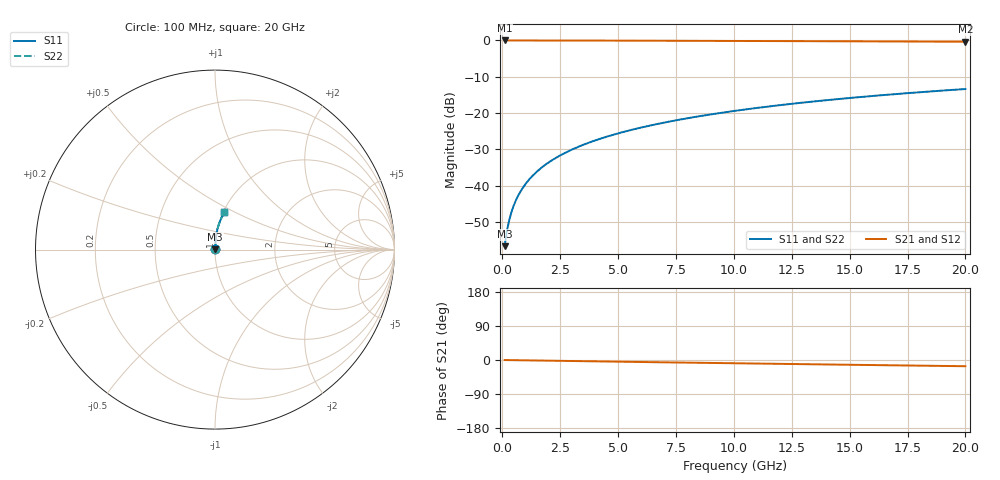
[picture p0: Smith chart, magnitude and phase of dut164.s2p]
! Touchstone file exported from HFSS 2024.1.0
!  File:  C:/UserFiles/LocalFiles/RDL_TSV_Batchsim/temp_RDL_bottom_164_1778697970.aedt
!  Generated:  02:48:51 AM May 14, 2026
!  Design:  RDL_bottom
!  Project:  temp_RDL_bottom_164_1778697970
!  Setup:  Setup1
!  Solution:  Sweep
! Variables:
!  dtsv = 10.80580581um
!  hbump = 3um
!  htsv = 94.29um
!  ldown = 162.33um
!  lrdl = 100um
!  p = 40
!  p1 = 59.1um
!  rhole = 1um
!  t = 450um
!  tdown = 4.27um
!  trdl = 3.915915916um
!  wdown = 15.96um
!  wrdl = 20um
# GHz S MA R 50.000000
! Terminal data exported
! Port[1] = RDL1_T1
! Port[2] = RDL1_T2
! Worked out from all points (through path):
!   200 points, 100 MHz to 20 GHz, reference 50 ohm
!   highest |S21| = -0.01 dB at 100 MHz (marker M1); lowest = -0.4 dB at 20 GHz (marker M2)
!   group delay of S21, straight-line fit = 2.27 ps
!   lowest |S11| = -56.7 dB at 100 MHz (marker M3), VSWR 1.00, Z = 50.1 + j0.108 ohm
!   |S11| at or under -10 dB: start of sweep to end of sweep
!   |S22| runs from -56.7 to -13.4 dB; largest |S21 - S12| = 2.6e-15
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0.1  0.001465 47.4  0.999 -0.1  0.999 -0.1  0.001465 47.4
! Gamma 0 0 0 0
! Port Impedance 50 0 50 0
0.2  0.002372 64.5  0.999 -0.2  0.999 -0.2  0.002372 64.5
0.3  0.003358 71.7  0.9989 -0.3  0.9989 -0.3  0.003358 71.7
0.4  0.004363 75.7  0.9989 -0.4  0.9989 -0.4  0.004363 75.7
0.5  0.005375 78.1  0.9989 -0.5  0.9989 -0.5  0.005375 78.1
0.7  0.007413 81.1  0.9988 -0.6  0.9988 -0.6  0.007413 81.1
0.8  0.008437 82.1  0.9987 -0.7  0.9987 -0.7  0.008437 82.1
1  0.01049 83.4  0.9986 -0.9  0.9986 -0.9  0.01049 83.4
1.2  0.01255 84.3  0.9985 -1.1  0.9985 -1.1  0.01255 84.3
1.4  0.01462 85.0  0.9984 -1.3  0.9984 -1.3  0.01462 85.0
1.7  0.01773 85.6  0.9982 -1.5  0.9982 -1.5  0.01773 85.6
2  0.02085 86.0  0.998 -1.8  0.998 -1.8  0.02085 86.0
2.7  0.02815 86.5  0.9973 -2.4  0.9973 -2.4  0.02815 86.5
3.5  0.03654 86.7  0.9963 -3.1  0.9963 -3.1  0.03654 86.7
4.2  0.04392 86.6  0.9953 -3.8  0.9953 -3.8  0.04392 86.6
5  0.05242 86.4  0.994 -4.5  0.994 -4.5  0.05242 86.4
6.8  0.07175 85.7  0.9907 -6.0  0.9907 -6.0  0.07175 85.7
8.3  0.08804 84.9  0.9876 -7.2  0.9876 -7.2  0.08804 84.9
10.1  0.1077 83.7  0.9838 -8.7  0.9838 -8.7  0.1077 83.7
13.4  0.1438 81.2  0.9763 -11.3  0.9763 -11.3  0.1438 81.2
16.7  0.1793 78.6  0.9682 -13.9  0.9682 -13.9  0.1793 78.6
20  0.214 75.9  0.9595 -16.4  0.9595 -16.4  0.214 75.9
